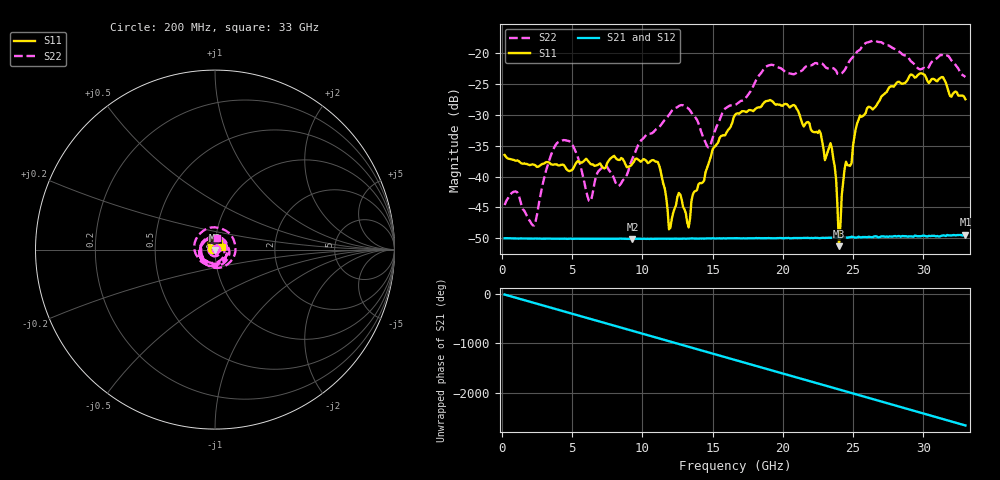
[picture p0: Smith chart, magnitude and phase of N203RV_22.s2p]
# GHZ S RI R 50
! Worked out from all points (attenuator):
!   329 points, 200 MHz to 33 GHz, reference 50 ohm
!   highest |S21| = -49.41 dB at 33 GHz (marker M1); lowest = -50.1 dB at 9.3 GHz (marker M2)
!   lowest |S11| = -51.2 dB at 24 GHz (marker M3), VSWR 1.01, Z = 49.9 - j0.232 ohm
!   |S11| at or under -10 dB: start of sweep to end of sweep
!   |S22| runs from -47.9 to -18.0 dB; largest |S21 - S12| = 7.2e-05
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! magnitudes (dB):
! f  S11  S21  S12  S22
! 200 MHz  -36.5  -50.0  -49.9  -44.6
! 2.3 GHz  -38.1  -50.0  -50.0  -47.9
! 4.2 GHz  -38.1  -50.0  -50.0  -34.3
! 5.7 GHz  -37.7  -50.0  -50.0  -39.2
! 6.3 GHz  -37.9  -50.1  -50.0  -44.0
! 9.3 GHz  -37.9  -50.1  -50.0  -37.1
! 11.2 GHz  -38.2  -50.0  -50.0  -32.0
! 11.9 GHz  -48.5  -50.1  -50.0  -30.0
! 12.6 GHz  -42.7  -50.1  -50.0  -28.6
! 13.3 GHz  -48.2  -50.0  -50.0  -29.1
! 14.7 GHz  -38.0  -50.0  -50.0  -35.3
! 16.6 GHz  -30.0  -50.0  -50.0  -28.4
! 18.9 GHz  -27.8  -50.0  -49.9  -22.1
! 20.8 GHz  -28.5  -49.9  -49.9  -23.5
! 22.1 GHz  -32.7  -49.9  -49.9  -22.0
! 23.5 GHz  -35.5  -49.9  -49.8  -22.5
! 23.8 GHz  -40.6  -49.8  -49.8  -22.9
! 24 GHz  -51.2  -49.8  -49.8  -23.5
! 24.4 GHz  -38.8  -49.8  -49.7  -22.8
! 25.3 GHz  -31.4  -49.8  -49.8  -19.8
! 27.6 GHz  -25.6  -49.7  -49.7  -18.9
! 33 GHz  -27.5  -49.4  -49.4  -23.9
